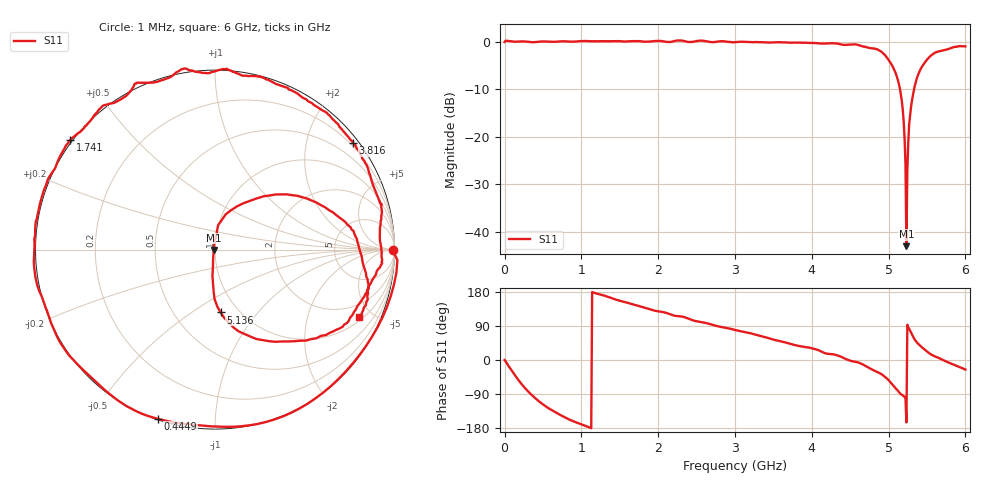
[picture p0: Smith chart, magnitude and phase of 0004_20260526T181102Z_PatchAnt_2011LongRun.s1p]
# Hz S RI R 50
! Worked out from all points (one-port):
!   501 points, 1 MHz to 6 GHz, reference 50 ohm
!   lowest |S11| = -43.0 dB at 5.232 GHz (marker M1), VSWR 1.01, Z = 49.3 - j0.186 ohm
!   |S11| at or under -10 dB: 5.149 GHz to 5.332 GHz (183.4 MHz wide, 3.5 % of centre)
!   S11 on the Smith chart (normalised r, x): 1 MHz: open; 444.9 MHz: 0.00, -0.72; 1.741 GHz: -0.01, +0.34; 3.816 GHz: 0.14, +2.93; 5.136 GHz: 0.83, -0.66; 6 GHz: 1.16, -4.17
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1000000  0.9905 -0.00255
8.4986e7  0.9059 -0.432
2.16964e8  0.4668 -0.8876
3.0095e8  0.1438 -0.9843
4.44926e8  -0.316 -0.9432
7.56874e8  -0.8565 -0.5275
1.068822e9  -1.008 -0.0861
1.50075e9  -0.9241 0.4044
1.74071e9  -0.8066 0.6113
2.256624e9  -0.4453 0.9244
3.0005e9  0.1857 0.9666
3.756374e9  0.737 0.6336
3.816364e9  0.7693 0.593
4.308282e9  0.9287 0.2251
4.50025e9  0.9281 -0.0254
4.872188e9  0.6777 -0.4457
5.028162e9  0.3028 -0.5105
5.136144e9  0.0308 -0.3504
5.184136e9  -0.0107 -0.1944
5.196134e9  -0.0143 -0.1459
5.208132e9  -0.0115 -0.096
5.232128e9  -0.00686 -0.00189
5.256124e9  0.00824 0.0857
5.268122e9  0.0169 0.1352
5.292118e9  0.0597 0.1967
5.412098e9  0.3992 0.308
5.628062e9  0.772 0.1037
6e9  0.8044 -0.3779
